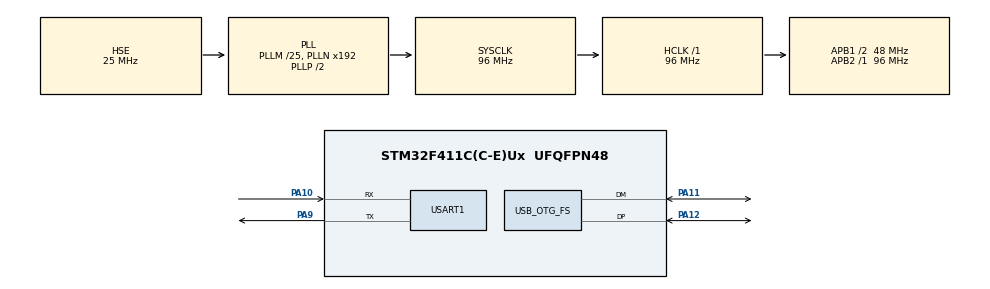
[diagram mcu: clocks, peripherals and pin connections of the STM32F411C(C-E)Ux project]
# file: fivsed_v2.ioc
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Mcu.Family=STM32F4
Mcu.Name=STM32F411C(C-E)Ux
Mcu.Package=UFQFPN48
NVIC.OTG_FS_IRQn=true\:0\:0\:false\:false\:true\:true\:true\:true
NVIC.PriorityGroup=NVIC_PRIORITYGROUP_4
NVIC.USART1_IRQn=true\:0\:0\:false\:false\:true\:true\:true\:true
PA10.Mode=Asynchronous
PA10.Signal=USART1_RX
PA11.Mode=Device_Only
PA11.Signal=USB_OTG_FS_DM
PA12.Mode=Device_Only
PA12.Signal=USB_OTG_FS_DP
PA13.Mode=Serial_Wire
PA13.Signal=SYS_JTMS-SWDIO
PA14.Mode=Serial_Wire
PA14.Signal=SYS_JTCK-SWCLK
PA9.Mode=Asynchronous
PA9.Signal=USART1_TX
PH0\ -\ OSC_IN.Mode=HSE-External-Oscillator
PH0\ -\ OSC_IN.Signal=RCC_OSC_IN
PH1\ -\ OSC_OUT.Mode=HSE-External-Oscillator
PH1\ -\ OSC_OUT.Signal=RCC_OSC_OUT
ProjectManager.HeapSize=0x1000
ProjectManager.StackSize=0x400
ProjectManager.TargetToolchain=STM32CubeIDE
RCC.48MHZClocksFreq_Value=48000000
RCC.AHBFreq_Value=96000000
RCC.APB1CLKDivider=RCC_HCLK_DIV2
RCC.APB1Freq_Value=48000000
RCC.APB1TimFreq_Value=96000000
RCC.APB2Freq_Value=96000000
RCC.APB2TimFreq_Value=96000000
RCC.CortexFreq_Value=96000000
RCC.HCLKFreq_Value=96000000
RCC.HSE_VALUE=25000000
RCC.HSI_VALUE=16000000
RCC.LSE_VALUE=32768
RCC.PLLM=25
RCC.SYSCLKFreq_VALUE=96000000
RCC.SYSCLKSource=RCC_SYSCLKSOURCE_PLLCLK
RCC.VCOOutputFreq_Value=192000000
USART1.VirtualMode=VM_ASYNC
USB_DEVICE.CLASS_NAME_FS=CDC
USB_DEVICE.VirtualMode=Cdc
USB_DEVICE.VirtualModeFS=Cdc_FS
USB_OTG_FS.VirtualMode=Device_Only
VP_USB_DEVICE_VS_USB_DEVICE_CDC_FS.Mode=CDC_FS
board=custom

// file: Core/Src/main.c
/* USER CODE BEGIN Header */
/**
  ******************************************************************************
  * @file           : main.c
  * @brief          : FIVSED Core Security Authority & Heartbeat Router
  ******************************************************************************
  */
/* USER CODE END Header */

#include "main.h"
#include "usb_device.h"
#include "usbd_cdc_if.h"

/* USER CODE BEGIN Includes */
#include <string.h>
#include <stdio.h>
#include <stdint.h>
#include <stdbool.h>
#include <stddef.h>
/* USER CODE END Includes */

/* USER CODE BEGIN PD */
#define REFERENCE_ADDR               0x08060000UL // Sector 7 on STM32F411 (128 KB)
#define REFERENCE_MAGIC              0x53564946UL // "FIVS"
#define REFERENCE_VERSION            2UL
#define MAX_TARGETS                  4U
#define TARGET_ID_MAX               32U
#define HASH_LEN                    32U
#define MAX_STREAM_BYTES            (16UL * 1024UL * 1024UL)

// Pi Framing Protocol (0xF5)
#define FIVSED_PI_SYNC              0xF5U
#define FIVSED_PI_VERSION           0x01U
#define MAX_PI_PAYLOAD              1024U
#define PI_HEADER_LEN               11U
#define PI_TX_FRAME_MAX             (2U + PI_HEADER_LEN + MAX_PI_PAYLOAD + 2U)

// Message Type IDs
#define MSG_HELLO_REQ               0x01U
#define MSG_STATUS_REQ              0x02U
#define MSG_SELECT_SLOT             0x03U
#define MSG_SCAN_REQ                0x04U
#define MSG_PI_HEARTBEAT            0x05U
#define MSG_ACK                     0x06U
#define MSG_NACK                    0x07U
#define MSG_STREAM_START            0x10U
#define MSG_STREAM_DATA             0x11U
#define MSG_STREAM_END              0x12U
#define MSG_STREAM_ACK              0x13U
#define MSG_HELLO_RESP              0x81U
#define MSG_STATUS_RESP             0x82U
#define MSG_HEARTBEAT_RESP          0x83U
#define MSG_SCAN_PROGRESS           0x85U
#define MSG_SCAN_RESULT             0x86U
#define MSG_COMPONENT_HEARTBEAT     0x91U
#define MSG_ERROR                   0xE0U

// ESP32 UART Protocol (Inbound 0x5A, Outbound 0xA5)
#define ESP32_INBOUND_SYNC          0x5AU
#define ESP32_INBOUND_VERSION       0x01U
#define ESP32_OUTBOUND_SYNC         0xA5U
#define ESP32_HB_INTERVAL_MS        5000UL
#define PI_HB_TIMEOUT_MS            45000UL
#define ESP32_HB_TIMEOUT_MS         35000UL

// Physical Pushbuttons
#define BUTTON_LONG_PRESS_MS        800UL
#define BUTTON_DEBOUNCE_MS          40UL
#define REGISTER_PORT               GPIOA
#define REGISTER_PIN                GPIO_PIN_0
#define REBASELINE_PORT             GPIOB
#define REBASELINE_PIN              GPIO_PIN_4
#define REVOKE_PORT                 GPIOB
#define REVOKE_PIN                  GPIO_PIN_5
#define RESTORE_PORT                GPIOA
#define RESTORE_PIN                 GPIO_PIN_1

#define ALERT_PORT                  GPIOC
#define ALERT_PIN                   GPIO_PIN_14
#define ONBOARD_LED_PORT            GPIOC
#define ONBOARD_LED_PIN             GPIO_PIN_13
/* USER CODE END PD */

UART_HandleTypeDef huart1;

/* USER CODE BEGIN PV */
typedef struct {
    uint32_t state[8];
    uint64_t total_len;
    uint32_t buffer_len;
    uint8_t buffer[64];
} SHA256_CTX;

static const uint32_t SHA256_K[64] = {
    0x428a2f98,0x71374491,0xb5c0fbcf,0xe9b5dba5,0x3956c25b,0x59f111f1,0x923f82a4,0xab1c5ed5,
    0xd807aa98,0x12835b01,0x243185be,0x550c7dc3,0x72be5d74,0x80deb1fe,0x9bdc06a7,0xc19bf174,
    0xe49b69c1,0xefbe4786,0x0fc19dc6,0x240ca1cc,0x2de92c6f,0x4a7484aa,0x5cb0a9dc,0x76f988da,
    0x983e5152,0xa831c66d,0xb00327c8,0xbf597fc7,0xc6e00bf3,0xd5a79147,0x06ca6351,0x14292967,
    0x27b70a85,0x2e1b2138,0x4d2c6dfc,0x53380d13,0x650a7354,0x766a0abb,0x81c2c92e,0x92722c85,
    0xa2bfe8a1,0xa81a664b,0xc24b8b70,0xc76c51a3,0xd192e819,0xd6990624,0xf40e3585,0x106aa070,
    0x19a4c116,0x1e376c08,0x2748774c,0x34b0bcb5,0x391c0cb3,0x4ed8aa4a,0x5b9cca4f,0x682e6ff3,
    0x748f82ee,0x78a5636f,0x84c87814,0x8cc70208,0x90befffa,0xa4506ceb,0xbef9a3f7,0xc67178f2
};

static const uint8_t HMAC_KEY[32] = {
    0x79,0xC2,0x51,0x18,0xA7,0x2F,0x4D,0x9B,0xE3,0x11,0x63,0x8A,0xD4,0x20,0x5E,0xF1,
    0x42,0xB7,0x05,0xC8,0x33,0x6D,0x90,0x1A,0xEE,0x48,0x7C,0x14,0xD9,0x62,0xAF,0x30
};

typedef struct __attribute__((packed, aligned(4))) {
    uint8_t used;
    uint8_t reserved[3];
    uint32_t firmware_size;
    char target_id[TARGET_ID_MAX];
    uint8_t reference_hash[HASH_LEN];
    uint8_t previous_hash[HASH_LEN];
} ReferenceSlot;

typedef struct __attribute__((packed, aligned(4))) {
    uint32_t magic;
    uint32_t version;
    uint32_t sequence;
    ReferenceSlot slots[MAX_TARGETS];
    uint32_t crc32;
} ReferenceTable;

static ReferenceTable g_reference;
static uint8_t g_reference_ok = 0U;

#define USB_RING_SIZE 8192U
static uint8_t usb_ring[USB_RING_SIZE];
static volatile uint16_t usb_head = 0U, usb_tail = 0U;
static volatile uint8_t usb_overflow = 0U;

typedef enum { PI_P_SYNC = 0, PI_P_VERSION, PI_P_HEADER, PI_P_PAYLOAD, PI_P_CRC_LO, PI_P_CRC_HI } PiParserState;
static PiParserState pi_pstate = PI_P_SYNC;
static uint8_t pi_pheader[PI_HEADER_LEN], pi_ppayload[MAX_PI_PAYLOAD];
static uint8_t pi_phidx = 0;
static uint16_t pi_plen = 0, pi_pidx = 0, pi_pcrc = 0xFFFFU, pi_expected_crc = 0;
static uint32_t pi_prid = 0;
static uint16_t pi_pseq = 0;
static uint8_t pi_ptype = 0;
static uint32_t pi_plast = 0;

static uint8_t pi_tx_frame[PI_TX_FRAME_MAX];

static SHA256_CTX stream_sha;
static uint8_t stream_active = 0U, stream_non_ff = 0U;
static uint32_t stream_rid = 0U, stream_total = 0U, stream_done = 0U, stream_start_ms = 0U;
static uint8_t stream_slot = 0U;
static uint16_t stream_next_seq = 0U;
static char stream_target_id[TARGET_ID_MAX];

typedef struct { GPIO_TypeDef *port; uint16_t pin; uint8_t was_down; uint32_t down_since; uint32_t last_event; } Button;
static Button b_reg = {REGISTER_PORT, REGISTER_PIN, 0, 0, 0};
static Button b_rebase = {REBASELINE_PORT, REBASELINE_PIN, 0, 0, 0};
static Button b_revoke = {REVOKE_PORT, REVOKE_PIN, 0, 0, 0};
static Button b_restore = {RESTORE_PORT, RESTORE_PIN, 0, 0, 0};

static uint8_t active_slot = 0U;
static uint8_t register_armed = 0U;
static uint8_t rebaseline_armed = 0U;

static uint32_t pi_last_seen_ms = 0U;
static uint32_t esp32_last_seen_ms = 0U;
static uint32_t last_esp32_hb_out_ms = 0U;
static uint32_t hb_seq = 0U;
static uint32_t verification_counter = 100U;

#define UART1_RING_SIZE 2048U
static uint8_t uart1_ring[UART1_RING_SIZE];
static volatile uint16_t uart1_head = 0U, uart1_tail = 0U;
static uint8_t uart1_rx_single;

typedef enum { ESP_P_SYNC = 0, ESP_P_VERSION, ESP_P_LEN_LO, ESP_P_LEN_HI, ESP_P_PAYLOAD, ESP_P_CRC_LO, ESP_P_CRC_HI } EspParserState;
static EspParserState esp_pstate = ESP_P_SYNC;
static uint8_t esp_ppayload[512];
static uint16_t esp_plen = 0, esp_pidx = 0, esp_pcrc = 0xFFFFU, esp_expected_crc = 0;
/* USER CODE END PV */

void SystemClock_Config(void);
static void MX_GPIO_Init(void);
static void MX_USART1_UART_Init(void);
void Error_Handler(void);

/* USER CODE BEGIN PFP */
static inline void secure_zero(void *ptr, size_t len) {
    volatile uint8_t *p = (volatile uint8_t *)ptr;
    while (len--) *p++ = 0U;
}

static inline uint32_t rotr32(uint32_t x, uint32_t n) { return (x >> n) | (x << (32U - n)); }
static inline uint32_t ch(uint32_t x, uint32_t y, uint32_t z) { return (x & y) ^ (~x & z); }
static inline uint32_t maj(uint32_t x, uint32_t y, uint32_t z) { return (x & y) ^ (x & z) ^ (y & z); }
static inline uint32_t bs0(uint32_t x) { return rotr32(x, 2) ^ rotr32(x, 13) ^ rotr32(x, 22); }
static inline uint32_t bs1(uint32_t x) { return rotr32(x, 6) ^ rotr32(x, 11) ^ rotr32(x, 25); }
static inline uint32_t ss0(uint32_t x) { return rotr32(x, 7) ^ rotr32(x, 18) ^ (x >> 3); }
static inline uint32_t ss1(uint32_t x) { return rotr32(x, 17) ^ rotr32(x, 19) ^ (x >> 10); }
static inline uint32_t be32(const uint8_t *p) { return ((uint32_t)p[0] << 24) | ((uint32_t)p[1] << 16) | ((uint32_t)p[2] << 8) | p[3]; }
static inline void putbe32(uint8_t *p, uint32_t v) { p[0] = (uint8_t)(v >> 24); p[1] = (uint8_t)(v >> 16); p[2] = (uint8_t)(v >> 8); p[3] = (uint8_t)v; }

static void SHA256_Init(SHA256_CTX *ctx);
static void SHA256_Update(SHA256_CTX *ctx, const uint8_t *data, uint32_t len);
static void SHA256_Final(SHA256_CTX *ctx, uint8_t out[32]);
static void SHA256_HMAC(const uint8_t *key, uint32_t key_len, const uint8_t *msg, uint32_t msg_len, uint8_t out[32]);

static uint16_t CRC16_Update(uint16_t crc, uint8_t b);
static void Pi_USBSendFrame(uint8_t type, uint32_t rid, uint16_t seq, const uint8_t *payload, uint16_t len);
static void Pi_USBSendJSON(uint8_t type, uint32_t rid, uint16_t seq, const char *json);
static void ESP32_SendAuthenticatedPayload(const uint8_t *payload, uint16_t len);
static void ESP32_SendComponentHeartbeat(void);
static void AlertSet(uint8_t on);

static inline bool provisioning_register_armed(void) {
    return (register_armed != 0U);
}

static inline void provisioning_clear_register(void) {
    register_armed = 0U;
}
/* USER CODE END PFP */

/* USER CODE BEGIN 0 */
static void SHA256_Transform(SHA256_CTX *ctx, const uint8_t block[64]) {
    uint32_t w[64];
    for (uint32_t i = 0; i < 16; i++) w[i] = be32(block + i * 4U);
    for (uint32_t i = 16; i < 64; i++) w[i] = ss1(w[i - 2]) + w[i - 7] + ss0(w[i - 15]) + w[i - 16];
    uint32_t a = ctx->state[0], b = ctx->state[1], c = ctx->state[2], d = ctx->state[3];
    uint32_t e = ctx->state[4], f = ctx->state[5], g = ctx->state[6], h = ctx->state[7];
    for (uint32_t i = 0; i < 64; i++) {
        uint32_t t1 = h + bs1(e) + ch(e, f, g) + SHA256_K[i] + w[i];
        uint32_t t2 = bs0(a) + maj(a, b, c);
        h = g; g = f; f = e; e = d + t1; d = c; c = b; b = a; a = t1 + t2;
    }
    ctx->state[0] += a; ctx->state[1] += b; ctx->state[2] += c; ctx->state[3] += d;
    ctx->state[4] += e; ctx->state[5] += f; ctx->state[6] += g; ctx->state[7] += h;
    secure_zero(w, sizeof(w));
}

static void SHA256_Init(SHA256_CTX *ctx) {
    static const uint32_t iv[8] = {0x6a09e667, 0xbb67ae85, 0x3c6ef372, 0xa54ff53a, 0x510e527f, 0x9b05688c, 0x1f83d9ab, 0x5be0cd19};
    memcpy(ctx->state, iv, sizeof(iv));
    ctx->total_len = 0U;
    ctx->buffer_len = 0U;
    memset(ctx->buffer, 0, sizeof(ctx->buffer));
}

static void SHA256_Update(SHA256_CTX *ctx, const uint8_t *data, uint32_t len) {
    if (!ctx || (!data && len)) return;
    ctx->total_len += (uint64_t)len;
    while (len) {
        uint32_t take = 64U - ctx->buffer_len;
        if (take > len) take = len;
        memcpy(ctx->buffer + ctx->buffer_len, data, take);
        ctx->buffer_len += take;
        data += take;
        len -= take;
        if (ctx->buffer_len == 64U) {
            SHA256_Transform(ctx, ctx->buffer);
            ctx->buffer_len = 0U;
        }
    }
}

static void SHA256_Final(SHA256_CTX *ctx, uint8_t out[32]) {
    uint64_t bit_len = ctx->total_len * 8ULL;
    uint8_t pad[128] = {0};
    uint8_t lenbuf[8];
    uint32_t pad_len = (ctx->buffer_len < 56U) ? (56U - ctx->buffer_len) : (120U - ctx->buffer_len);
    pad[0] = 0x80U;
    SHA256_Update(ctx, pad, pad_len);
    for (int i = 0; i < 8; i++) lenbuf[7 - i] = (uint8_t)(bit_len >> (8 * i));
    SHA256_Update(ctx, lenbuf, 8U);
    for (int i = 0; i < 8; i++) putbe32(out + i * 4, ctx->state[i]);
    secure_zero(pad, sizeof(pad));
    secure_zero(lenbuf, sizeof(lenbuf));
}

static void SHA256_HMAC(const uint8_t *key, uint32_t key_len, const uint8_t *msg, uint32_t msg_len, uint8_t out[32]) {
    uint8_t k0[64] = {0}, ipad[64], opad[64], inner[32];
    SHA256_CTX ctx;
    if (key_len > 64U) {
        SHA256_CTX kc;
        SHA256_Init(&kc);
        SHA256_Update(&kc, key, key_len);
        SHA256_Final(&kc, k0);
        secure_zero(&kc, sizeof(kc));
        key_len = 32U;
    } else if (key_len) {
        memcpy(k0, key, key_len);
    }
    for (int i = 0; i < 64; i++) {
        ipad[i] = (uint8_t)(k0[i] ^ 0x36U);
        opad[i] = (uint8_t)(k0[i] ^ 0x5CU);
    }
    SHA256_Init(&ctx);
    SHA256_Update(&ctx, ipad, 64U);
    SHA256_Update(&ctx, msg, msg_len);
    SHA256_Final(&ctx, inner);
    SHA256_Init(&ctx);
    SHA256_Update(&ctx, opad, 64U);
    SHA256_Update(&ctx, inner, 32U);
    SHA256_Final(&ctx, out);
    secure_zero(k0, sizeof(k0));
    secure_zero(ipad, sizeof(ipad));
    secure_zero(opad, sizeof(opad));
    secure_zero(inner, sizeof(inner));
    secure_zero(&ctx, sizeof(ctx));
}

static uint32_t CRC32_Calc(const uint8_t *data, uint32_t len) {
    uint32_t crc = 0xFFFFFFFFUL;
    for (uint32_t i = 0; i < len; i++) {
        crc ^= data[i];
        for (uint32_t b = 0; b < 8; b++) crc = (crc & 1U) ? ((crc >> 1) ^ 0xEDB88320UL) : (crc >> 1);
    }
    return ~crc;
}

static uint32_t ReferenceCRC(const ReferenceTable *t) {
    return CRC32_Calc((const uint8_t *)t, (uint32_t)offsetof(ReferenceTable, crc32));
}

static int ReferenceErased(void) {
    const uint8_t *p = (const uint8_t *)REFERENCE_ADDR;
    for (uint32_t i = 0; i < sizeof(ReferenceTable); i++) if (p[i] != 0xFFU) return 0;
    return 1;
}

static int ReferenceSave(void) {
    FLASH_EraseInitTypeDef er = {0};
    uint32_t sector_error = 0U;
    g_reference.magic = REFERENCE_MAGIC;
    g_reference.version = REFERENCE_VERSION;
    g_reference.sequence++;
    g_reference.crc32 = ReferenceCRC(&g_reference);

    if (HAL_FLASH_Unlock() != HAL_OK) return -1;
    er.TypeErase = FLASH_TYPEERASE_SECTORS;
    er.Sector = FLASH_SECTOR_7;
    er.NbSectors = 1;
    er.VoltageRange = FLASH_VOLTAGE_RANGE_3;

    if (HAL_FLASHEx_Erase(&er, &sector_error) != HAL_OK) {
        HAL_FLASH_Lock();
        return -2;
    }

    const uint32_t *src = (const uint32_t *)&g_reference;
    uint32_t words = (uint32_t)(sizeof(ReferenceTable) / 4U);
    for (uint32_t i = 0; i < words; i++) {
        if (HAL_FLASH_Program(FLASH_TYPEPROGRAM_WORD, REFERENCE_ADDR + i * 4U, src[i]) != HAL_OK) {
            HAL_FLASH_Lock();
            return -3;
        }
    }
    HAL_FLASH_Lock();
    return (memcmp((const void *)REFERENCE_ADDR, &g_reference, sizeof(g_reference)) == 0) ? 0 : -4;
}

static void ReferenceInit(void) {
    const ReferenceTable *stored = (const ReferenceTable *)REFERENCE_ADDR;
    if (ReferenceErased()) {
        memset(&g_reference, 0, sizeof(g_reference));
        g_reference.magic = REFERENCE_MAGIC;
        g_reference.version = REFERENCE_VERSION;
        g_reference.sequence = 0U;
        g_reference.crc32 = ReferenceCRC(&g_reference);
        g_reference_ok = 1U;
        return;
    }
    if (stored->magic == REFERENCE_MAGIC && stored->version == REFERENCE_VERSION && stored->crc32 == ReferenceCRC(stored)) {
        memcpy(&g_reference, stored, sizeof(g_reference));
        g_reference_ok = 1U;
    } else {
        // Default to blank clean table rather than asserting a fatal error
        memset(&g_reference, 0, sizeof(g_reference));
        g_reference.magic = REFERENCE_MAGIC;
        g_reference.version = REFERENCE_VERSION;
        g_reference.sequence = 0U;
        g_reference.crc32 = ReferenceCRC(&g_reference);
        g_reference_ok = 1U;
    }
}

static int ReferenceFind(const char *target_id) {
    if (!target_id || !g_reference_ok) return -1;
    for (uint8_t i = 0; i < MAX_TARGETS; i++) {
        if (g_reference.slots[i].used && strncmp(g_reference.slots[i].target_id, target_id, TARGET_ID_MAX) == 0) return (int)i;
    }
    return -1;
}

static int ReferenceRegister(uint8_t slot, const char *id, const uint8_t digest[32], uint32_t size) {
    if (!g_reference_ok || slot >= MAX_TARGETS || !id || !digest) return -1;
    if (g_reference.slots[slot].used) return -2;
    if (ReferenceFind(id) >= 0) return -3;

    memset(&g_reference.slots[slot], 0, sizeof(g_reference.slots[slot]));
    g_reference.slots[slot].used = 1U;
    g_reference.slots[slot].firmware_size = size;
    strncpy(g_reference.slots[slot].target_id, id, TARGET_ID_MAX - 1U);
    memcpy(g_reference.slots[slot].reference_hash, digest, 32U);
    memcpy(g_reference.slots[slot].previous_hash, digest, 32U);

    int rc = ReferenceSave();
    if (rc) g_reference_ok = 0U;
    return rc;
}

static int ReferenceUpdate(uint8_t slot, const uint8_t digest[32], uint32_t size) {
    if (!g_reference_ok || slot >= MAX_TARGETS || !g_reference.slots[slot].used) return -1;
    memcpy(g_reference.slots[slot].previous_hash, g_reference.slots[slot].reference_hash, 32U);
    memcpy(g_reference.slots[slot].reference_hash, digest, 32U);
    g_reference.slots[slot].firmware_size = size;

    int rc = ReferenceSave();
    if (rc) g_reference_ok = 0U;
    return rc;
}

static int ReferenceRevoke(uint8_t slot) {
    if (!g_reference_ok || slot >= MAX_TARGETS || !g_reference.slots[slot].used) return -1;
    memset(&g_reference.slots[slot], 0, sizeof(g_reference.slots[slot]));
    int rc = ReferenceSave();
    if (rc) g_reference_ok = 0U;
    return rc;
}

static int ReferenceRestore(uint8_t slot) {
    if (!g_reference_ok || slot >= MAX_TARGETS || !g_reference.slots[slot].used) return -1;
    uint8_t t[32];
    memcpy(t, g_reference.slots[slot].reference_hash, 32);
    memcpy(g_reference.slots[slot].reference_hash, g_reference.slots[slot].previous_hash, 32);
    memcpy(g_reference.slots[slot].previous_hash, t, 32);
    secure_zero(t, sizeof(t));
    int rc = ReferenceSave();
    if (rc) g_reference_ok = 0U;
    return rc;
}

void FIVSED_USB_RxFeed(const uint8_t *data, uint32_t len) {
    if (!data) return;
    for (uint32_t i = 0; i < len; i++) {
        uint16_t next = (uint16_t)((usb_head + 1U) % USB_RING_SIZE);
        if (next == usb_tail) {
            usb_overflow = 1U;
            break;
        }
        usb_ring[usb_head] = data[i];
        usb_head = next;
    }
}

static int USBReadByte(uint8_t *b) {
    if (usb_tail == usb_head) return 0;
    *b = usb_ring[usb_tail];
    usb_tail = (uint16_t)((usb_tail + 1U) % USB_RING_SIZE);
    return 1;
}

static uint16_t CRC16_Update(uint16_t crc, uint8_t b) {
    crc ^= (uint16_t)b << 8;
    for (uint8_t i = 0; i < 8; i++) crc = (crc & 0x8000U) ? (uint16_t)((crc << 1) ^ 0x1021U) : (uint16_t)(crc << 1);
    return crc;
}

static void Pi_USBSendFrame(uint8_t type, uint32_t rid, uint16_t seq, const uint8_t *payload, uint16_t len) {
    if (len > MAX_PI_PAYLOAD) return;
    uint32_t p = 0U;
    pi_tx_frame[p++] = FIVSED_PI_SYNC;
    pi_tx_frame[p++] = FIVSED_PI_VERSION;
    pi_tx_frame[p++] = type;
    pi_tx_frame[p++] = 0;
    pi_tx_frame[p++] = 0;
    pi_tx_frame[p++] = (uint8_t)rid;
    pi_tx_frame[p++] = (uint8_t)(rid >> 8);
    pi_tx_frame[p++] = (uint8_t)(rid >> 16);
    pi_tx_frame[p++] = (uint8_t)(rid >> 24);
    pi_tx_frame[p++] = (uint8_t)seq;
    pi_tx_frame[p++] = (uint8_t)(seq >> 8);
    pi_tx_frame[p++] = (uint8_t)len;
    pi_tx_frame[p++] = (uint8_t)(len >> 8);

    if (len && payload) {
        memcpy(pi_tx_frame + p, payload, len);
        p += len;
    }

    uint16_t crc = 0xFFFFU;
    for (uint32_t i = 1; i < p; i++) crc = CRC16_Update(crc, pi_tx_frame[i]);
    pi_tx_frame[p++] = (uint8_t)crc;
    pi_tx_frame[p++] = (uint8_t)(crc >> 8);

    uint32_t deadline = HAL_GetTick() + 200U;
    while (HAL_GetTick() < deadline) {
        uint8_t rc = CDC_Transmit_FS(pi_tx_frame, (uint16_t)p);
        if (rc == USBD_OK) return;
        HAL_Delay(1U);
    }
}

static void Pi_USBSendJSON(uint8_t type, uint32_t rid, uint16_t seq, const char *json) {
    if (json && strlen(json) <= MAX_PI_PAYLOAD) {
        Pi_USBSendFrame(type, rid, seq, (const uint8_t *)json, (uint16_t)strlen(json));
    }
}

static void ESP32_SendAuthenticatedPayload(const uint8_t *payload, uint16_t len) {
    if (!payload || !len || len > 1024) return;
    uint8_t mac[32];
    uint8_t sync = ESP32_OUTBOUND_SYNC;
    uint8_t h[2] = {(uint8_t)(len & 0xFF), (uint8_t)((len >> 8) & 0xFF)};
    SHA256_HMAC(HMAC_KEY, 32U, payload, len, mac);
    HAL_UART_Transmit(&huart1, &sync, 1U, 50U);
    HAL_UART_Transmit(&huart1, h, 2U, 50U);
    HAL_UART_Transmit(&huart1, (uint8_t *)payload, len, 500U);
    HAL_UART_Transmit(&huart1, mac, 32U, 200U);
    secure_zero(mac, sizeof(mac));
}

static void ReportVerdictBoth(uint32_t rid, uint8_t slot, const char *result, const char *status, const char *reason, uint32_t size, uint32_t duration) {
    verification_counter++;
    char j[512];
    snprintf(j, sizeof(j),
        "{\"version\":1,\"event\":\"FIRMWARE_VERIFICATION\",\"source\":\"STM32\",\"decision_authority\":\"STM32\","
        "\"verification_id\":%lu,\"scan_id\":%lu,\"slot\":%u,\"result\":\"%s\",\"status\":\"%s\","
        "\"firmware_size\":%lu,\"duration_ms\":%lu,\"reason\":\"%s\",\"hash_disclosure\":false}",
        (unsigned long)verification_counter, (unsigned long)rid, (unsigned)slot, result, status,
        (unsigned long)size, (unsigned long)duration, reason ? reason : "");

    Pi_USBSendJSON(MSG_SCAN_RESULT, rid, 0, j);
    ESP32_SendAuthenticatedPayload((const uint8_t *)j, (uint16_t)strlen(j));
}

static void ESP32_SendComponentHeartbeat(void) {
    uint32_t now = HAL_GetTick();
    bool pi = (pi_last_seen_ms != 0U && (uint32_t)(now - pi_last_seen_ms) <= PI_HB_TIMEOUT_MS);
    bool esp = (esp32_last_seen_ms != 0U && (uint32_t)(now - esp32_last_seen_ms) <= ESP32_HB_TIMEOUT_MS);

    char j[320];
    int n = snprintf(j, sizeof(j),
        "{\"version\":1,\"event\":\"COMPONENT_HEARTBEAT\",\"source\":\"STM32\",\"status\":\"ACTIVE\","
        "\"stm32_active\":true,\"raspberry_pi_active\":%s,\"esp32_active\":%s,"
        "\"stm32_uptime_ms\":%lu,\"pi_last_seen_ms\":%lu,\"esp32_last_seen_ms\":%lu,\"sequence\":%lu}",
        pi ? "true" : "false", esp ? "true" : "false", (unsigned long)now,
        (unsigned long)pi_last_seen_ms, (unsigned long)esp32_last_seen_ms, (unsigned long)(++hb_seq));
    if (n > 0 && n < (int)sizeof(j)) ESP32_SendAuthenticatedPayload((const uint8_t *)j, (uint16_t)n);
}

static void AlertSet(uint8_t on) {
    HAL_GPIO_WritePin(ALERT_PORT, ALERT_PIN, on ? GPIO_PIN_SET : GPIO_PIN_RESET);
    HAL_GPIO_WritePin(ONBOARD_LED_PORT, ONBOARD_LED_PIN, on ? GPIO_PIN_RESET : GPIO_PIN_SET);
}

static void ButtonAction(uint8_t action) {
    if (!g_reference_ok) { AlertSet(1); return; }
    if (action == 1U) { register_armed = 1; rebaseline_armed = 0; }
    else if (action == 2U) { rebaseline_armed = 1; register_armed = 0; }
    else if (action == 3U) { register_armed = 0; rebaseline_armed = 0; (void)ReferenceRevoke(active_slot); }
    else if (action == 4U) { register_armed = 0; rebaseline_armed = 0; (void)ReferenceRestore(active_slot); }
}

static void ButtonPoll(Button *b, uint8_t action) {
    uint8_t down = (HAL_GPIO_ReadPin(b->port, b->pin) == GPIO_PIN_RESET) ? 1U : 0U;
    uint32_t now = HAL_GetTick();
    if (down && !b->was_down) {
        b->was_down = 1U;
        b->down_since = now;
        return;
    }
    if (!down && b->was_down) {
        uint32_t held = now - b->down_since;
        b->was_down = 0U;
        if (held >= BUTTON_LONG_PRESS_MS && (uint32_t)(now - b->last_event) >= BUTTON_DEBOUNCE_MS) {
            b->last_event = now;
            ButtonAction(action);
        }
    }
}

static void ButtonsPoll(void) {
    ButtonPoll(&b_reg, 1U);
    ButtonPoll(&b_rebase, 2U);
    ButtonPoll(&b_revoke, 3U);
    ButtonPoll(&b_restore, 4U);
}

static void StreamReset(void) {
    secure_zero(&stream_sha, sizeof(stream_sha));
    stream_active = 0;
    stream_non_ff = 0;
    stream_rid = 0;
    stream_total = 0;
    stream_done = 0;
    stream_start_ms = 0;
    stream_slot = 0;
    stream_next_seq = 0;
    secure_zero(stream_target_id, sizeof(stream_target_id));
}

static int ParseU32(const char *json, const char *key, uint32_t *out) {
    char needle[48];
    int n = snprintf(needle, sizeof(needle), "\"%s\"", key);
    if (n <= 0 || n >= (int)sizeof(needle)) return 0;
    const char *p = strstr(json, needle);
    if (!p) return 0;
    p = strchr(p, ':');
    if (!p) return 0;
    p++;
    while (*p == ' ' || *p == '\t') p++;
    if (*p < '0' || *p > '9') return 0;
    uint32_t v = 0;
    do { v = v * 10U + (uint32_t)(*p - '0'); p++; } while (*p >= '0' && *p <= '9');
    *out = v;
    return 1;
}

static int ParseString(const char *json, const char *key, char *out, uint32_t out_len) {
    char needle[48];
    int n = snprintf(needle, sizeof(needle), "\"%s\"", key);
    if (n <= 0 || n >= (int)sizeof(needle)) return 0;
    const char *p = strstr(json, needle);
    if (!p) return 0;
    p = strchr(p, ':');
    if (!p) return 0;
    p++;
    while (*p == ' ' || *p == '\t') p++;
    if (*p != '\"') return 0;
    p++;
    uint32_t i = 0;
    while (*p && *p != '\"') {
        if (*p == '\\' || i + 1U >= out_len) return 0;
        out[i++] = *p++;
    }
    if (*p != '\"') return 0;
    out[i] = '\0';
    return (i > 0U);
}

/* ==============================================================================
 * StreamStart: UPDATED PROVISIONING LOGIC
 * ============================================================================== */
static void StreamStart(uint32_t rid, uint16_t seq, const uint8_t *payload, uint16_t len) {
    char json[MAX_PI_PAYLOAD + 1];
    uint32_t slot = 0, total = 0;
    char id[TARGET_ID_MAX] = {0};

    // 1. Basic Structural & Parameter Validation
    if (len >= sizeof(json)) {
        Pi_USBSendJSON(MSG_NACK, rid, seq, "{\"error\":\"PAYLOAD_TOO_LARGE\"}");
        return;
    }
    memcpy(json, payload, len);
    json[len] = '\0';

    if (!ParseU32(json, "slot", &slot) || slot >= MAX_TARGETS) {
        Pi_USBSendJSON(MSG_NACK, rid, seq, "{\"error\":\"INVALID_TARGET_SLOT\"}");
        return;
    }
    if (!ParseU32(json, "total_bytes", &total) || total == 0 || total > MAX_STREAM_BYTES) {
        Pi_USBSendJSON(MSG_NACK, rid, seq, "{\"error\":\"INVALID_TOTAL_BYTES\"}");
        return;
    }
    if (!ParseString(json, "target_id", id, sizeof(id)) || strlen(id) == 0) {
        Pi_USBSendJSON(MSG_NACK, rid, seq, "{\"error\":\"MISSING_TARGET_ID\"}");
        return;
    }

    if (!g_reference_ok) {
        Pi_USBSendJSON(MSG_NACK, rid, seq, "{\"error\":\"REFERENCE_STORAGE_CORRUPT\"}");
        return;
    }

    // 2. Unregistered vs. Registered Target Logic
    int existing_slot = ReferenceFind(id);
    bool slot_occupied = (g_reference.slots[slot].used != 0);

    if (!slot_occupied && existing_slot < 0) {
        // CASE: Target & Slot are UNREGISTERED
        // Strictly require physical REGISTER button to be armed!
        if (!provisioning_register_armed()) {
            Pi_USBSendJSON(MSG_NACK, rid, seq, "{\"error\":\"PHYSICAL_REGISTER_REQUIRED\"}");
            return;
        }
        // Physical REGISTER is armed -> Allow stream start!
    } else {
        // CASE: Target or Slot is REGISTERED
        if (existing_slot >= 0 && existing_slot != (int)slot) {
            Pi_USBSendJSON(MSG_NACK, rid, seq, "{\"error\":\"TARGET_SLOT_MISMATCH\"}");
            return;
        }
        if (slot_occupied) {
            if (strncmp(g_reference.slots[slot].target_id, id, TARGET_ID_MAX) != 0) {
                Pi_USBSendJSON(MSG_NACK, rid, seq, "{\"error\":\"TARGET_ID_MISMATCH\"}");
                return;
            }
        }
    }

    // 3. Initialize Streaming Session
    StreamReset();
    stream_active = 1;
    stream_rid = rid;
    stream_slot = (uint8_t)slot;
    stream_total = total;
    stream_done = 0;
    stream_start_ms = HAL_GetTick();
    stream_next_seq = 0;
    strncpy(stream_target_id, id, TARGET_ID_MAX - 1U);
    SHA256_Init(&stream_sha);

    Pi_USBSendJSON(MSG_STREAM_ACK, rid, seq, "{\"accepted\":true,\"stage\":\"STREAMING_TO_STM32\"}");
}

static void StreamData(uint32_t rid, uint16_t seq, const uint8_t *payload, uint16_t len) {
    if (!stream_active || rid != stream_rid || seq != stream_next_seq) {
        Pi_USBSendJSON(MSG_NACK, rid, seq, "{\"error\":\"STREAM_SEQUENCE_ERROR\"}");
        return;
    }
    if (!len || stream_done + (uint32_t)len > stream_total) {
        Pi_USBSendJSON(MSG_NACK, rid, seq, "{\"error\":\"STREAM_LENGTH_ERROR\"}");
        return;
    }

    SHA256_Update(&stream_sha, payload, len);
    for (uint16_t i = 0; i < len; i++) {
        if (payload[i] != 0xFFU) { stream_non_ff = 1; break; }
    }
    stream_done += len;
    stream_next_seq++;

    char ack[180];
    int n = snprintf(ack, sizeof(ack), "{\"bytes_processed\":%lu,\"total_bytes\":%lu}",
                     (unsigned long)stream_done, (unsigned long)stream_total);
    if (n > 0 && n < (int)sizeof(ack)) Pi_USBSendJSON(MSG_STREAM_ACK, rid, seq, ack);
}

static void StreamEnd(uint32_t rid, uint16_t seq) {
    if (!stream_active || rid != stream_rid || seq != stream_next_seq) {
        Pi_USBSendJSON(MSG_NACK, rid, seq, "{\"error\":\"STREAM_END_SEQUENCE_ERROR\"}");
        return;
    }
    uint8_t digest[32];
    uint32_t size = stream_done, duration = HAL_GetTick() - stream_start_ms;
    uint8_t slot = stream_slot;
    char id[TARGET_ID_MAX];
    strncpy(id, stream_target_id, TARGET_ID_MAX - 1U);
    id[TARGET_ID_MAX - 1U] = '\0';

    if (stream_done != stream_total) {
        Pi_USBSendJSON(MSG_STREAM_ACK, rid, seq, "{\"complete\":false,\"accepted\":false}");
        ReportVerdictBoth(rid, slot, "READ_ERROR", "FAIL", "Incomplete firmware stream", size, duration);
        AlertSet(1);
        StreamReset();
        return;
    }
    if (!stream_non_ff) {
        Pi_USBSendJSON(MSG_STREAM_ACK, rid, seq, "{\"complete\":false,\"accepted\":false}");
        ReportVerdictBoth(rid, slot, "READ_ERROR", "FAIL", "Firmware image is all 0xFF", size, duration);
        AlertSet(1);
        StreamReset();
        return;
    }

    SHA256_Final(&stream_sha, digest);
    Pi_USBSendJSON(MSG_STREAM_ACK, rid, seq, "{\"complete\":true,\"accepted\":true}");

    if (!g_reference_ok) {
        ReportVerdictBoth(rid, slot, "READ_ERROR", "FAIL", "STM32 reference table is invalid", size, duration);
        secure_zero(digest, sizeof(digest));
        StreamReset();
        AlertSet(1);
        return;
    }

    int ref_slot = ReferenceFind(id);
    if (ref_slot < 0) {
        if (provisioning_register_armed() && !g_reference.slots[slot].used) {
            int rc = ReferenceRegister(slot, id, digest, size);
            provisioning_clear_register();
            if (rc == 0) {
                ReportVerdictBoth(rid, slot, "NEW_TARGET_REGISTERED", "PASS", "Trusted reference created inside STM32 flash", size, duration);
                AlertSet(0);
            } else {
                ReportVerdictBoth(rid, slot, "READ_ERROR", "FAIL", "STM32 reference storage write failed", size, duration);
                AlertSet(1);
            }
        } else {
            ReportVerdictBoth(rid, slot, "UNREGISTERED", "FAIL", "Target measured but has no trusted reference", size, duration);
            AlertSet(1);
        }
    } else if (rebaseline_armed) {
        int rc = ReferenceUpdate((uint8_t)ref_slot, digest, size);
        rebaseline_armed = 0U;
        if (rc == 0) {
            ReportVerdictBoth(rid, slot, "REFERENCE_UPDATED", "PASS", "Trusted reference updated by physical STM32 action", size, duration);
            AlertSet(0);
        } else {
            ReportVerdictBoth(rid, slot, "READ_ERROR", "FAIL", "STM32 reference storage write failed", size, duration);
            AlertSet(1);
        }
    } else {
        const ReferenceSlot *ref = &g_reference.slots[ref_slot];
        if (ref->firmware_size != size) {
            ReportVerdictBoth(rid, slot, "HASH_MISMATCH", "FAIL", "Firmware size differs from STM32 reference", size, duration);
            AlertSet(1);
        } else if (memcmp(digest, ref->reference_hash, 32U) == 0) {
            ReportVerdictBoth(rid, slot, "MATCH", "PASS", "Firmware measurement matches STM32 trusted reference", size, duration);
            AlertSet(0);
        } else {
            ReportVerdictBoth(rid, slot, "HASH_MISMATCH", "FAIL", "Firmware measurement differs from STM32 trusted reference", size, duration);
            AlertSet(1);
        }
    }
    secure_zero(digest, sizeof(digest));
    StreamReset();
}

static void HandlePiFrame(uint8_t type, uint32_t rid, uint16_t seq, const uint8_t *payload, uint16_t len) {
    char json[MAX_PI_PAYLOAD + 1];
    if (type != MSG_STREAM_DATA) {
        memcpy(json, payload, len);
        json[len] = '\0';
    }

    switch (type) {
        case MSG_HELLO_REQ:
            Pi_USBSendJSON(MSG_HELLO_RESP, rid, 0,
                "{\"protocol\":1,\"controller\":\"STM32F411CEU6\",\"role\":\"SECURITY_AUTHORITY\"}");
            break;

        case MSG_STATUS_REQ: {
            char out[MAX_PI_PAYLOAD];
            size_t pos = 0;
            int n = snprintf(out + pos, sizeof(out) - pos, "{\"controller\":\"STM32F411CEU6\",\"role\":\"SECURITY_AUTHORITY\",\"slots\":[");
            if (n < 0 || (size_t)n >= sizeof(out) - pos) return;
            pos += (size_t)n;
            for (uint8_t i = 0; i < MAX_TARGETS; i++) {
                if (i) out[pos++] = ',';
                const ReferenceSlot *s = &g_reference.slots[i];
                n = snprintf(out + pos, sizeof(out) - pos,
                    "{\"slot\":%u,\"registered\":%s,\"target_id\":\"%s\",\"firmware_size\":%lu,\"reference_state\":\"%s\"}",
                    (unsigned)i, s->used ? "true" : "false", s->used ? s->target_id : "",
                    (unsigned long)(s->used ? s->firmware_size : 0U),
                    s->used ? "TRUSTED_REFERENCE_STORED" : "UNREGISTERED");
                if (n < 0 || (size_t)n >= sizeof(out) - pos) return;
                pos += (size_t)n;
            }
            n = snprintf(out + pos, sizeof(out) - pos, "]}");
            if (n < 0 || (size_t)n >= sizeof(out) - pos) return;
            pos += (size_t)n;
            Pi_USBSendFrame(MSG_STATUS_RESP, rid, 0, (const uint8_t *)out, (uint16_t)pos);
            break;
        }

        case MSG_SELECT_SLOT: {
            uint32_t s;
            if (ParseU32(json, "slot", &s) && s < MAX_TARGETS) {
                active_slot = (uint8_t)s;
                Pi_USBSendJSON(MSG_ACK, rid, 0, "{\"ok\":true}");
            } else {
                Pi_USBSendJSON(MSG_NACK, rid, 0, "{\"error\":\"INVALID_TARGET_SLOT\"}");
            }
            break;
        }

        case MSG_PI_HEARTBEAT: {
            pi_last_seen_ms = HAL_GetTick();
            bool esp_active = (esp32_last_seen_ms != 0U && (HAL_GetTick() - esp32_last_seen_ms) <= ESP32_HB_TIMEOUT_MS);
            char resp[160];
            snprintf(resp, sizeof(resp),
                "{\"pi_active\":true,\"stm32_active\":true,\"esp32_active\":%s,\"esp32_last_seen_ms\":%lu}",
                esp_active ? "true" : "false", (unsigned long)esp32_last_seen_ms);
            Pi_USBSendJSON(MSG_HEARTBEAT_RESP, rid, seq, resp);
            break;
        }

        case MSG_SCAN_REQ:
            Pi_USBSendJSON(MSG_ACK, rid, seq, "{\"status\":\"SCAN_REQUEST_ACCEPTED\",\"message\":\"Initiate firmware stream\"}");
            break;

        case MSG_STREAM_START:
            StreamStart(rid, seq, payload, len);
            break;

        case MSG_STREAM_DATA:
            StreamData(rid, seq, payload, len);
            break;

        case MSG_STREAM_END:
            StreamEnd(rid, seq);
            break;

        default:
            Pi_USBSendJSON(MSG_NACK, rid, seq, "{\"error\":\"UNKNOWN_MESSAGE_TYPE\"}");
            break;
    }
}

static void ProcessPiUSBBytes(void) {
    uint8_t b;
    while (USBReadByte(&b)) {
        uint32_t now = HAL_GetTick();
        if (pi_pstate != PI_P_SYNC && (uint32_t)(now - pi_plast) > 2000U) pi_pstate = PI_P_SYNC;
        pi_plast = now;

        switch (pi_pstate) {
            case PI_P_SYNC:
                if (b == FIVSED_PI_SYNC) pi_pstate = PI_P_VERSION;
                break;
            case PI_P_VERSION:
                if (b != FIVSED_PI_VERSION) {
                    pi_pstate = PI_P_SYNC;
                } else {
                    pi_pcrc = CRC16_Update(0xFFFFU, b);
                    pi_phidx = 0;
                    pi_pstate = PI_P_HEADER;
                }
                break;
            case PI_P_HEADER:
                pi_pheader[pi_phidx++] = b;
                pi_pcrc = CRC16_Update(pi_pcrc, b);
                if (pi_phidx == PI_HEADER_LEN) {
                    pi_ptype = pi_pheader[0];
                    pi_prid  = (uint32_t)pi_pheader[3] | ((uint32_t)pi_pheader[4] << 8) |
                               ((uint32_t)pi_pheader[5] << 16) | ((uint32_t)pi_pheader[6] << 24);
                    pi_pseq  = (uint16_t)pi_pheader[7] | ((uint16_t)pi_pheader[8] << 8);
                    pi_plen  = (uint16_t)pi_pheader[9] | ((uint16_t)pi_pheader[10] << 8);
                    pi_pidx  = 0;
                    if (pi_plen > MAX_PI_PAYLOAD) {
                        Pi_USBSendJSON(MSG_NACK, pi_prid, pi_pseq, "{\"error\":\"PAYLOAD_TOO_LARGE\"}");
                        pi_pstate = PI_P_SYNC;
                    } else {
                        pi_pstate = pi_plen ? PI_P_PAYLOAD : PI_P_CRC_LO;
                    }
                }
                break;
            case PI_P_PAYLOAD:
                pi_ppayload[pi_pidx++] = b;
                pi_pcrc = CRC16_Update(pi_pcrc, b);
                if (pi_pidx == pi_plen) pi_pstate = PI_P_CRC_LO;
                break;
            case PI_P_CRC_LO:
                pi_expected_crc = b;
                pi_pstate = PI_P_CRC_HI;
                break;
            case PI_P_CRC_HI:
                pi_expected_crc |= (uint16_t)b << 8;
                if (pi_pcrc == pi_expected_crc) {
                    HandlePiFrame(pi_ptype, pi_prid, pi_pseq, pi_ppayload, pi_plen);
                } else {
                    Pi_USBSendJSON(MSG_NACK, pi_prid, pi_pseq, "{\"error\":\"CRC16_MISMATCH\"}");
                }
                pi_pstate = PI_P_SYNC;
                break;
            default:
                pi_pstate = PI_P_SYNC;
                break;
        }
    }
    if (usb_overflow) {
        usb_overflow = 0;
        pi_pstate = PI_P_SYNC;
        Pi_USBSendJSON(MSG_NACK, 0, 0, "{\"error\":\"USB_RX_OVERFLOW\"}");
    }
}

static void HandleEsp32Frame(const uint8_t *payload, uint16_t len) {
    char json[513];
    if (len >= sizeof(json)) return;
    memcpy(json, payload, len);
    json[len] = '\0';

    if (strstr(json, "\"ESP32_HEARTBEAT\"") != NULL) {
        esp32_last_seen_ms = HAL_GetTick();

        char ack[256];
        snprintf(ack, sizeof(ack),
            "{\"version\":1,\"event\":\"ESP32_HEARTBEAT_ACK\",\"source\":\"STM32\","
            "\"status\":\"ACK\",\"message\":\"ACK: ESP32_ACTIVE\",\"stm32_active\":true,\"sequence\":%lu}",
            (unsigned long)(++hb_seq));
        ESP32_SendAuthenticatedPayload((const uint8_t *)ack, (uint16_t)strlen(ack));
    }
}

static void ProcessEsp32UartBytes(void) {
    while (uart1_tail != uart1_head) {
        uint8_t b = uart1_ring[uart1_tail];
        uart1_tail = (uint16_t)((uart1_tail + 1U) % UART1_RING_SIZE);

        switch (esp_pstate) {
            case ESP_P_SYNC:
                if (b == ESP32_INBOUND_SYNC) esp_pstate = ESP_P_VERSION;
                break;
            case ESP_P_VERSION:
                if (b != ESP32_INBOUND_VERSION) {
                    esp_pstate = ESP_P_SYNC;
                } else {
                    esp_pcrc = CRC16_Update(0xFFFFU, b);
                    esp_pstate = ESP_P_LEN_LO;
                }
                break;
            case ESP_P_LEN_LO:
                esp_plen = b;
                esp_pcrc = CRC16_Update(esp_pcrc, b);
                esp_pstate = ESP_P_LEN_HI;
                break;
            case ESP_P_LEN_HI:
                esp_plen |= ((uint16_t)b << 8);
                esp_pcrc = CRC16_Update(esp_pcrc, b);
                esp_pidx = 0;
                if (esp_plen > sizeof(esp_ppayload)) {
                    esp_pstate = ESP_P_SYNC;
                } else {
                    esp_pstate = esp_plen ? ESP_P_PAYLOAD : ESP_P_CRC_LO;
                }
                break;
            case ESP_P_PAYLOAD:
                esp_ppayload[esp_pidx++] = b;
                esp_pcrc = CRC16_Update(esp_pcrc, b);
                if (esp_pidx == esp_plen) esp_pstate = ESP_P_CRC_LO;
                break;
            case ESP_P_CRC_LO:
                esp_expected_crc = b;
                esp_pstate = ESP_P_CRC_HI;
                break;
            case ESP_P_CRC_HI:
                esp_expected_crc |= ((uint16_t)b << 8);
                if (esp_pcrc == esp_expected_crc) {
                    HandleEsp32Frame(esp_ppayload, esp_plen);
                }
                esp_pstate = ESP_P_SYNC;
                break;
            default:
                esp_pstate = ESP_P_SYNC;
                break;
        }
    }
}

void HAL_UART_RxCpltCallback(UART_HandleTypeDef *huart) {
    if (huart->Instance == USART1) {
        uint16_t next = (uint16_t)((uart1_head + 1U) % UART1_RING_SIZE);
        if (next != uart1_tail) {
            uart1_ring[uart1_head] = uart1_rx_single;
            uart1_head = next;
        }
        HAL_UART_Receive_IT(&huart1, &uart1_rx_single, 1);
    }
}
/* USER CODE END 0 */

int main(void)
{
    HAL_Init();
    SystemClock_Config();
    MX_GPIO_Init();
    MX_USART1_UART_Init();
    MX_USB_DEVICE_Init();

    /* USER CODE BEGIN 2 */
    ReferenceInit();
    StreamReset();
    AlertSet(0);
    last_esp32_hb_out_ms = HAL_GetTick();
    HAL_UART_Receive_IT(&huart1, &uart1_rx_single, 1);
    /* USER CODE END 2 */

    /* USER CODE BEGIN WHILE */
    while (1)
    {
        ButtonsPoll();
        ProcessPiUSBBytes();
        ProcessEsp32UartBytes();

        uint32_t now = HAL_GetTick();

        if ((now - last_esp32_hb_out_ms) >= ESP32_HB_INTERVAL_MS) {
            last_esp32_hb_out_ms = now;
            ESP32_SendComponentHeartbeat();
        }

        HAL_Delay(1U);
    }
    /* USER CODE END WHILE */
}

void SystemClock_Config(void)
{
    RCC_OscInitTypeDef RCC_OscInitStruct = {0};
    RCC_ClkInitTypeDef RCC_ClkInitStruct = {0};

    __HAL_RCC_PWR_CLK_ENABLE();
    __HAL_PWR_VOLTAGESCALING_CONFIG(PWR_REGULATOR_VOLTAGE_SCALE1);

    RCC_OscInitStruct.OscillatorType = RCC_OSCILLATORTYPE_HSE;
    RCC_OscInitStruct.HSEState = RCC_HSE_ON;
    RCC_OscInitStruct.PLL.PLLState = RCC_PLL_ON;
    RCC_OscInitStruct.PLL.PLLSource = RCC_PLLSOURCE_HSE;
    RCC_OscInitStruct.PLL.PLLM = 25;
    RCC_OscInitStruct.PLL.PLLN = 192;
    RCC_OscInitStruct.PLL.PLLP = RCC_PLLP_DIV2;
    RCC_OscInitStruct.PLL.PLLQ = 4;
    if (HAL_RCC_OscConfig(&RCC_OscInitStruct) != HAL_OK) Error_Handler();

    RCC_ClkInitStruct.ClockType = RCC_CLOCKTYPE_HCLK | RCC_CLOCKTYPE_SYSCLK | RCC_CLOCKTYPE_PCLK1 | RCC_CLOCKTYPE_PCLK2;
    RCC_ClkInitStruct.SYSCLKSource = RCC_SYSCLKSOURCE_PLLCLK;
    RCC_ClkInitStruct.AHBCLKDivider = RCC_SYSCLK_DIV1;
    RCC_ClkInitStruct.APB1CLKDivider = RCC_HCLK_DIV2;
    RCC_ClkInitStruct.APB2CLKDivider = RCC_HCLK_DIV1;

    if (HAL_RCC_ClockConfig(&RCC_ClkInitStruct, FLASH_LATENCY_3) != HAL_OK) Error_Handler();
}

static void MX_USART1_UART_Init(void)
{
    huart1.Instance = USART1;
    huart1.Init.BaudRate = 115200;
    huart1.Init.WordLength = UART_WORDLENGTH_8B;
    huart1.Init.StopBits = UART_STOPBITS_1;
    huart1.Init.Parity = UART_PARITY_NONE;
    huart1.Init.Mode = UART_MODE_TX_RX;
    huart1.Init.HwFlowCtl = UART_HWCONTROL_NONE;
    huart1.Init.OverSampling = UART_OVERSAMPLING_16;
    if (HAL_UART_Init(&huart1) != HAL_OK) Error_Handler();
}

static void MX_GPIO_Init(void)
{
    GPIO_InitTypeDef g = {0};
    __HAL_RCC_GPIOA_CLK_ENABLE();
    __HAL_RCC_GPIOB_CLK_ENABLE();
    __HAL_RCC_GPIOC_CLK_ENABLE();
    __HAL_RCC_GPIOH_CLK_ENABLE();

    g.Pin = REGISTER_PIN | RESTORE_PIN;
    g.Mode = GPIO_MODE_INPUT;
    g.Pull = GPIO_PULLUP;
    g.Speed = GPIO_SPEED_FREQ_LOW;
    HAL_GPIO_Init(GPIOA, &g);

    g.Pin = REBASELINE_PIN | REVOKE_PIN;
    g.Mode = GPIO_MODE_INPUT;
    g.Pull = GPIO_PULLUP;
    g.Speed = GPIO_SPEED_FREQ_LOW;
    HAL_GPIO_Init(GPIOB, &g);

    g.Pin = ALERT_PIN | ONBOARD_LED_PIN;
    g.Mode = GPIO_MODE_OUTPUT_PP;
    g.Pull = GPIO_NOPULL;
    g.Speed = GPIO_SPEED_FREQ_LOW;
    HAL_GPIO_Init(GPIOC, &g);

    HAL_GPIO_WritePin(ALERT_PORT, ALERT_PIN, GPIO_PIN_RESET);
    HAL_GPIO_WritePin(ONBOARD_LED_PORT, ONBOARD_LED_PIN, GPIO_PIN_SET);
}

void Error_Handler(void)
{
    __disable_irq();
    AlertSet(1);
    while (1) {}
}
